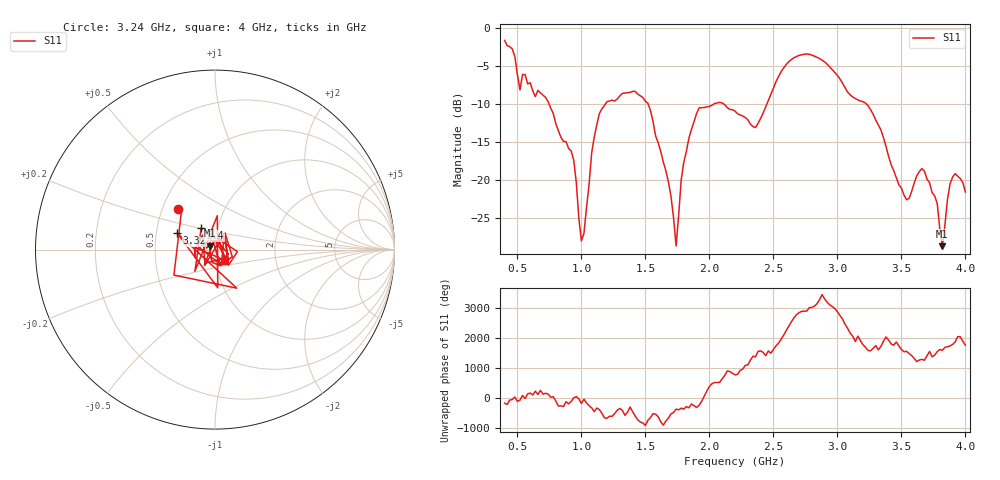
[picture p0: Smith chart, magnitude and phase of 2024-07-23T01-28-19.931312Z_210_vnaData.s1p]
!Created with skrf (http://scikit-rf.org).
# Hz S RI R 50.0
!freq ReS11 ImS11
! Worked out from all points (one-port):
!   181 points, 400 MHz to 4 GHz, reference 50 ohm
!   lowest |S11| = -28.7 dB at 3.82 GHz (marker M1), VSWR 1.08, Z = 47.1 + j2.06 ohm
!   |S11| at or under -10 dB: 746.7 MHz to 1.189 GHz (442.1 MHz wide, 45.7 % of centre); 1.521 GHz to 2.037 GHz (516 MHz wide, 29 % of centre); 3.225 GHz to end of sweep (the widest 3 of 4)
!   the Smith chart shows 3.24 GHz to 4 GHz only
!   S11 on the Smith chart (normalised r, x): 3.24 GHz: 0.60, +0.30; 3.32 GHz: 0.64, +0.12; 3.4 GHz: 0.83, +0.20; 4 GHz: 1.11, -0.14
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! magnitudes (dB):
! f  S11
! 400 MHz  -1.7
! 520 MHz  -8.2
! 560 MHz  -6.1
! 720 MHz  -9.2
! 860 MHz  -15.0
! 940 MHz  -17.4
! 1 GHz  -28.0
! 1.14 GHz  -11.3
! 1.3 GHz  -9.0
! 1.52 GHz  -9.9
! 1.68 GHz  -20.3
! 1.74 GHz  -28.7
! 1.76 GHz  -24.6
! 1.8 GHz  -17.7
! 1.92 GHz  -10.5
! 2.2 GHz  -11.0
! 2.36 GHz  -13.1
! 2.66 GHz  -3.9
! 3.1 GHz  -8.8
! 3.24 GHz  -10.3
! 3.32 GHz  -12.8
! 3.4 GHz  -16.9
! 3.56 GHz  -22.5
! 3.68 GHz  -18.9
! 3.78 GHz  -23.1
! 3.82 GHz  -28.7
! 3.9 GHz  -19.6
! 4 GHz  -21.6
